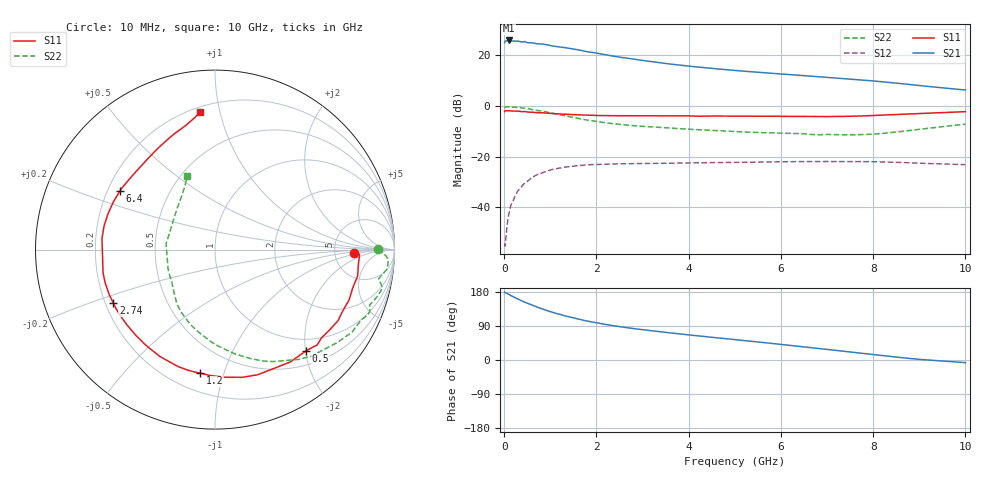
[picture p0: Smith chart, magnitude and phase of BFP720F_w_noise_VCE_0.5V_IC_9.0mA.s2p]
! Infineon Technologies  Discrete & RF Semiconductors
! BFP720F
! VCE =  0.5 V,  IC =  9.0 mA
! Common Emitter S-Parameters:  Jan 2016
# GHz  S  MA  R  50
!  f  S11  S21  S12  S22
! GHz  MAG  ANG  MAG  ANG  MAG  ANG  MAG  ANG
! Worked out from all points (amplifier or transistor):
!   233 points, 10 MHz to 10 GHz, reference 50 ohm
!   highest |S21| = 25.9 dB at 100 MHz (marker M1)
!   |S21| within 3 dB of that: start of sweep to 1.374 GHz
!   unconditionally stable (mu >= 1): start of sweep to 18.86 MHz; 6.802 GHz to end of sweep
!   at 200 MHz: K = 0.07, MSG = 31.5 dB, |S12| = -37.3 dB
!   at 1.74 GHz: K = 0.31, MSG = 22.5 dB, |S12| = -23.3 dB
!   at 10 GHz: K = 1.39, MAG = 11.0 dB, |S12| = -23.2 dB
!   lowest NFmin = 0.52 dB at 450 MHz
!   S11 on the Smith chart (normalised r, x): 10 MHz: 7.86, -0.81; 500 MHz: 0.76, -2.01; 1.2 GHz: 0.31, -0.83; 2.74 GHz: 0.23, -0.24; 6.4 GHz: 0.25, +0.27; 10 GHz: 0.23, +0.87
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0.01  0.7765 -1.5  17.76 178.8  0.0019 16.7  0.9096 0.2
0.02  0.8057 -1.9  19.14 178.0  0.0017 62.0  0.9494 -1.9
0.1  0.8084 -10.4  19.7 173.2  0.0071 80.7  0.9653 -6.4
0.15  0.7962 -15.7  19.13 169.8  0.0112 75.7  0.9263 -10.1
0.3  0.7917 -29.9  19.15 160.6  0.0212 72.1  0.9152 -19.8
0.4  0.7707 -39.6  18.34 155.2  0.0271 68.7  0.9048 -25.8
0.45  0.7784 -43.0  18.7 152.3  0.0301 66.6  0.8951 -28.6
0.5  0.7584 -48.1  17.84 150.1  0.0323 65.4  0.8918 -31.1
0.6  0.7537 -56.1  17.76 145.2  0.0382 60.4  0.8537 -37.5
0.8  0.7364 -71.3  16.85 135.8  0.0467 53.3  0.8037 -47.5
1  0.7136 -85.3  15.63 127.4  0.0545 45.5  0.7269 -58.4
1.2  0.6941 -97.0  14.71 120.8  0.0592 40.3  0.6778 -66.4
1.4  0.6832 -107.6  13.83 114.0  0.0635 34.7  0.6169 -75.0
1.68  0.6627 -121.4  12.41 105.9  0.0673 28.6  0.5506 -85.6
2.2  0.6454 -139.7  10.25 93.8  0.0711 20.0  0.4667 -101.7
2.74  0.64 -152.1  8.57 84.0  0.0725 13.9  0.4123 -113.9
3.4  0.639 -161.9  7.096 74.3  0.0737 8.9  0.375 -123.6
5.1  0.6306 166.7  4.951 52.5  0.0771 -0.3  0.3102 -139.8
6.4  0.6218 148.3  4.037 35.9  0.0796 -7.4  0.2844 -155.8
6.8  0.6181 141.6  3.792 30.6  0.0799 -9.8  0.2692 -174.8
8.4  0.6719 112.3  2.888 8.9  0.0776 -19.8  0.2993 137.4
10  0.7723 96.1  2.068 -7.0  0.0693 -24.3  0.4372 110.8
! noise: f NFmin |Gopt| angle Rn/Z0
0.45  0.52  0.33  4  0.18
0.9  0.55  0.31  9  0.15
1.8  0.6  0.29  15  0.14
2.4  0.63  0.26  25  0.14
5.5  0.77  0.25  48  0.08
10  0.99  0.27  -94  0.17
